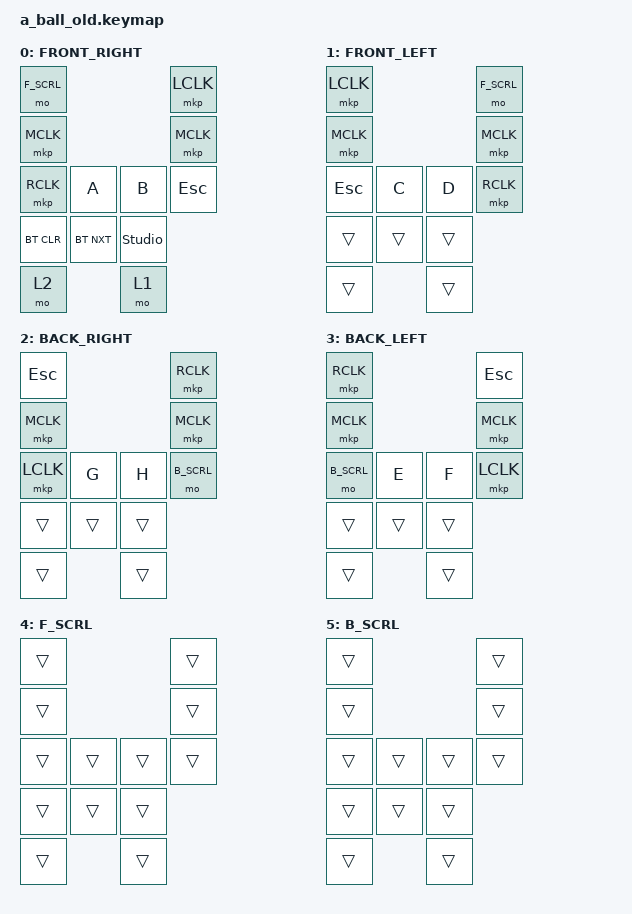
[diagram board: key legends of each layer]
#include <behaviors.dtsi>
#include <dt-bindings/zmk/keys.h>
#include <dt-bindings/zmk/bt.h>
//#include <dt-bindings/zmk/mouse.h>
#include <dt-bindings/zmk/outputs.h>
#include <dt-bindings/zmk/mouse.h>
#include <dt-bindings/zmk/ext_power.h>
//#include <behaviors/mouse_keys.dtsi>
//#include <input/processors.dtsi>


// Label re-defined: Fingers - Front, Thumb - Backwards

#define FRONT_RIGHT 0
#define FRONT_LEFT 1
#define BACK_RIGHT 2
#define BACK_LEFT 3
#define F_SCRL 4
#define B_SCRL 5

// Mouse speed increased
#define ZMK_POINTING_DEFAULT_MOVE_VAL 700  // default: 600 - original: 1000
#define ZMK_POINTING_DEFAULT_SCRL_VAL 12   // default: 10  - original: 15
//#include <dt-bindings/zmk/pointing.h>

/ {
    keymap {
        compatible = "zmk,keymap";

//        map = <
//   		 RC(0,2)    			     	RC(0,5)
//		 RC(0,1)	/* Ball */	        RC(0,4)
//	         RC(0,0)    RC(0,12)	RC(0,11)        RC(0,3)
//                   /* Buttons on top of the middle deck */
//  		       /*  BTReset BTSelect Unlock  */ 
//                          RC(0,8) RC(0,7)  RC(0,6)        
//               /* Slider switches on the bottom of the middle deck */
//		/* Orientation (Front/Backwards)   Handiness L/R     */
//                       RC(0,10)        	     RC(0,9)              
//        >;

// &mkp LCLK &mkp MCLK &mkp RCLK  &none

	// Layer 0
        FRONT_RIGHT {
            bindings = <
        //  ____________                           ____________
        // |            |                         |            |
		    &mo F_SCRL				               &mkp LCLK
        // |____________|            O            |____________|
        // |            |                         |            |
		    &mkp MCLK					           &mkp MCLK
        // |____________|____________ ____________|____________|
        // |            |            |            |            |
		    &mkp RCLK    &kp A        &kp B 	   &kp ESC
        // |____________|____________|____________|____________|
        /*   Orientation (Front/Backward)   Handiness L/R     */
   		  &bt BT_CLR  &bt BT_NXT   &studio_unlock	
			/*&kp N1  &kp N2  &kp N3*/
               /* Orientation (Front/Backward)   Handiness L/R     */
			&mo 2                   &mo 1
            >;
        };


	// Layer 1
        FRONT_LEFT {
            bindings = <
        //  ____________                           ____________
        // |            |                         |            |
		    &mkp LCLK 				               &mo F_SCRL
        // |____________|            O            |____________|
        // |            |                         |            |
		    &mkp MCLK				               &mkp MCLK 				
        // |____________|____________ ____________|____________|
        // |            |            |            |            |
            &kp ESC      &kp C        &kp D	       &mkp RCLK
        // |____________|____________|____________|____________|
	                   /* Inner Buttons  */
		            &trans &trans &trans
               /* Orientation (Front/Backward)   Handiness L/R     */
			&trans                  &trans
            >;
        };


	// Layer 2 (This is the one that I use)
        BACK_RIGHT {
            bindings = <
        //  ____________                           ____________
        // |            |                         |            |
		    &kp ESC         			           &mkp RCLK
        // |____________|            O            |____________|
        // |            |                         |            |
		    &mkp MCLK  				               &mkp MCLK
        // |____________|____________ ____________|____________|
        // |            |            |            |            |
		    &mkp LCLK 	 &kp G        &kp H 	   &mo B_SCRL
        // |____________|____________|____________|____________|
	                   /* Inner Buttons  */
		            &trans &trans &trans
               /* Orientation (Front/Backward)   Handiness L/R     */
			&trans                 &trans
            >;
        };
 
	// Layer 3
        BACK_LEFT {
            bindings = <
        //  ____________                           ____________
        // |            |                         |            |
    		&mkp RCLK				               &kp ESC
        // |____________|            O            |____________|
        // |            |                         |            |
	    	&mkp MCLK				               &mkp MCLK
        // |____________|____________ ____________|____________|
        // |            |            |            |            |
		    &mo B_SCRL   &kp E        &kp F	       &mkp LCLK
        // |____________|____________|____________|____________|
	                   /* Inner Buttons  */
		            &trans &trans &trans
               /* Orientation (Front/Backward)   Handiness L/R     */
			&trans                 &trans
            >;
         };
 
//   		 RC(0,5)    			                RC(0,2) 
//		     RC(0,4)	       /* Ball */	        RC(0,1)
//	         RC(0,3)    RC(0,12)	    RC(0,11)    RC(0,0) 
//                   /* Buttons on top of the middle deck */
//  		       /*  BTReset BTSelect Unlock  */ 
//                      RC(0,8) RC(0,7)  RC(0,6)        
//      /* Slider switches on the bottom of the middle deck */
//		/* Orientation (Front/Backward)   Handiness L/R     */
//                      RC(0,10)         RC(0,9)              

	// Scroll layers do nothing by themselves, it is completely transparent.
	// It is detected in trackball_listener telling to switch from the pointing movement to scrolling.
	// Need separate layers for orientation to implement 
 	// Layers 4, 5
/* 4 */ F_SCRL      {bindings = <&trans &trans &trans &trans &trans &trans &trans &trans &trans &trans &trans &trans &trans>;};
/* 5 */ B_SCRL      {bindings = <&trans &trans &trans &trans &trans &trans &trans &trans &trans &trans &trans &trans &trans>;};

        extra1 {status = "reserved";};
        extra2 {status = "reserved";};
        extra3 {status = "reserved";};
        extra4 {status = "reserved";};
        extra5 {status = "reserved";};
        extra6 {status = "reserved";};
        extra7 {status = "reserved";};
        extra8  {status = "reserved";};

     };

    conditional_layers {
        compatible = "zmk,conditional-layers";
        tri_layer {
            if-layers = <FRONT_LEFT BACK_RIGHT>;
            then-layer = <BACK_LEFT>;
        };
    };

};
